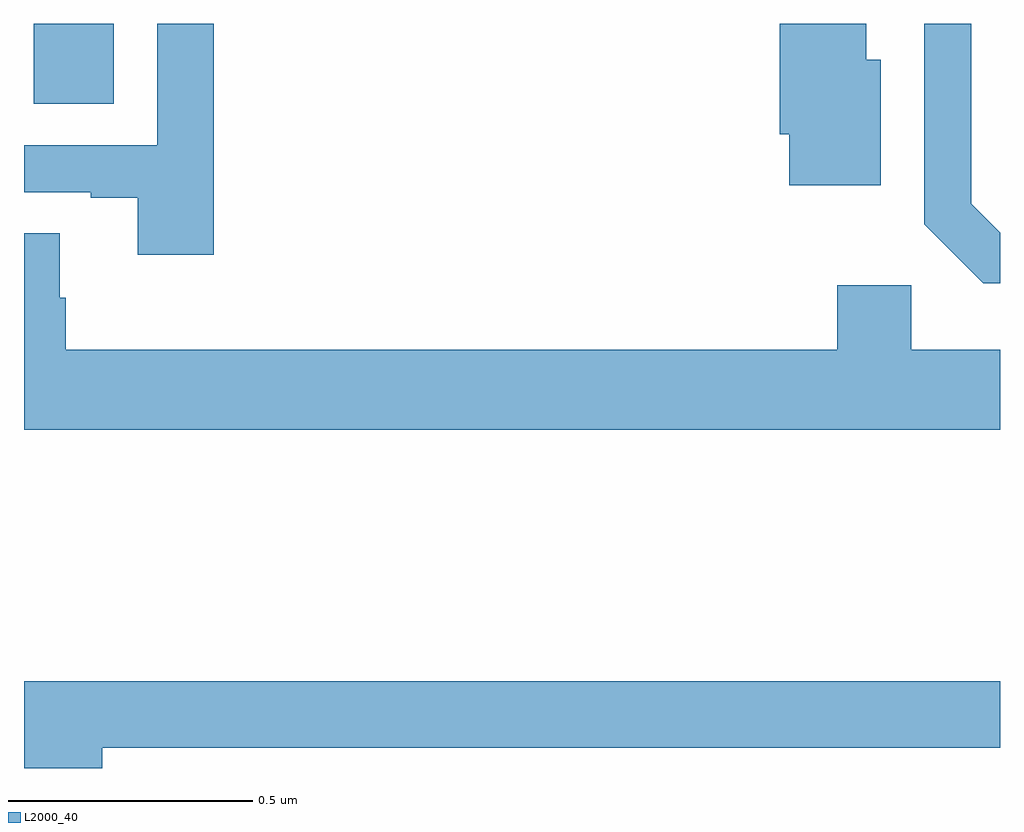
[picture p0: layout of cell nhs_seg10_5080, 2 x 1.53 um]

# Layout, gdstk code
import gdstk
lib = gdstk.Library(unit=1e-6, precision=1e-09)
def R(c, l, rs):  # rectangles x0, y0, x1, y1
    for r in rs: c.add(gdstk.rectangle(r[:2], r[2:], *l))
def P(c, l, *ps):  # polygons
    for p in ps: c.add(gdstk.Polygon(p, *l))
L2000_40 = (2000, 40)

nhs_seg10_5080 = lib.new_cell('nhs_seg10_5080')
R(nhs_seg10_5080, L2000_40, [(174.02,1282.336,174.184,1282.5)])
P(nhs_seg10_5080, L2000_40, [(176,1282.072),(175.941,1282.131),(175.941,1282.5),(175.845,1282.5),(175.845,1282.089),(175.966,1281.968),(176,1281.968)],
  [(174.389,1282.5),(174.273,1282.5),(174.273,1282.251),(174,1282.251),(174,1282.155),(174.137,1282.155),(174.137,1282.143),(174.233,1282.143),(174.233,1282.026),(174.389,1282.026)],
  [(175.756,1282.426),(175.726,1282.426),(175.726,1282.5),(175.549,1282.5),(175.549,1282.273),(175.568,1282.273),(175.568,1282.169),(175.756,1282.169)],
  [(176,1281.832),(175.818,1281.832),(175.818,1281.964),(175.667,1281.964),(175.667,1281.832),(174.086,1281.832),(174.086,1281.938),(174.073,1281.938),(174.073,1282.07),(174,1282.07),(174,1281.668),(176,1281.668)],
  [(174.16,1281.016),(176,1281.016),(176,1281.152),(174,1281.152),(174,1280.974),(174.16,1280.974)])

lib.write_gds('nhs_seg10_5080.gds')
